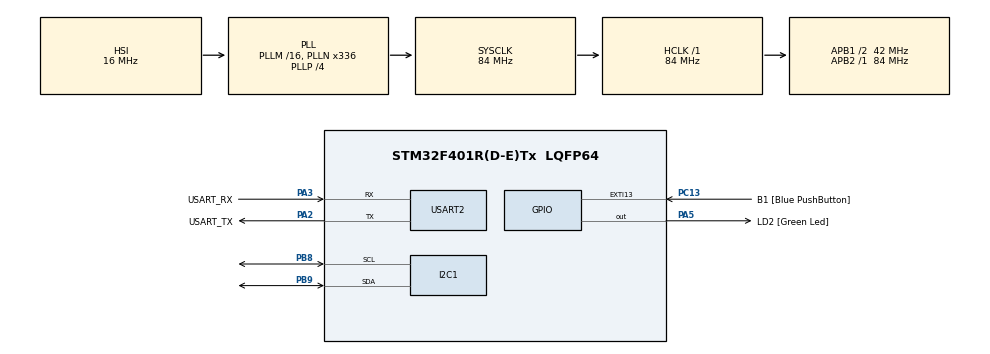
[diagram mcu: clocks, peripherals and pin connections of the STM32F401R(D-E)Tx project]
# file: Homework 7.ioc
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Mcu.Family=STM32F4
Mcu.Name=STM32F401R(D-E)Tx
Mcu.Package=LQFP64
NVIC.PriorityGroup=NVIC_PRIORITYGROUP_4
NVIC.TIM2_IRQn=true\:0\:0\:false\:false\:true\:true\:true\:true
PA13.GPIO_Label=TMS
PA13.Mode=Trace_Asynchronous_SW
PA13.Signal=SYS_JTMS-SWDIO
PA14.GPIO_Label=TCK
PA14.Mode=Trace_Asynchronous_SW
PA14.Signal=SYS_JTCK-SWCLK
PA2.GPIO_Label=USART_TX
PA2.GPIO_Mode=GPIO_MODE_AF_PP
PA2.GPIO_PuPd=GPIO_NOPULL
PA2.GPIO_Speed=GPIO_SPEED_FREQ_LOW
PA2.Mode=Asynchronous
PA2.Signal=USART2_TX
PA3.GPIO_Label=USART_RX
PA3.GPIO_Mode=GPIO_MODE_AF_PP
PA3.GPIO_PuPd=GPIO_NOPULL
PA3.GPIO_Speed=GPIO_SPEED_FREQ_LOW
PA3.Mode=Asynchronous
PA3.Signal=USART2_RX
PA5.GPIO_Label=LD2 [Green Led]
PA5.GPIO_Mode=GPIO_MODE_OUTPUT_PP
PA5.GPIO_PuPd=GPIO_NOPULL
PA5.GPIO_Speed=GPIO_SPEED_FREQ_LOW
PA5.Signal=GPIO_Output
PB3.GPIO_Label=SWO
PB3.Mode=Trace_Asynchronous_SW
PB3.Signal=SYS_JTDO-SWO
PB8.Mode=I2C
PB8.Signal=I2C1_SCL
PB9.Mode=I2C
PB9.Signal=I2C1_SDA
PC13-ANTI_TAMP.GPIO_Label=B1 [Blue PushButton]
PC13-ANTI_TAMP.GPIO_ModeDefaultEXTI=GPIO_MODE_IT_FALLING
PC13-ANTI_TAMP.GPIO_PuPd=GPIO_NOPULL
PC13-ANTI_TAMP.Signal=GPXTI13
PC14-OSC32_IN.Mode=LSE-External-Oscillator
PC14-OSC32_IN.Signal=RCC_OSC32_IN
PC15-OSC32_OUT.Mode=LSE-External-Oscillator
PC15-OSC32_OUT.Signal=RCC_OSC32_OUT
PH0\ -\ OSC_IN.Mode=HSE-External-Clock-Source
PH0\ -\ OSC_IN.Signal=RCC_OSC_IN
PH1\ -\ OSC_OUT.Mode=HSE-External-Clock-Source
PH1\ -\ OSC_OUT.Signal=RCC_OSC_OUT
ProjectManager.HeapSize=0x200
ProjectManager.StackSize=0x400
ProjectManager.TargetToolchain=STM32CubeIDE
RCC.48MHZClocksFreq_Value=48000000
RCC.AHBFreq_Value=84000000
RCC.APB1CLKDivider=RCC_HCLK_DIV2
RCC.APB1Freq_Value=42000000
RCC.APB1TimFreq_Value=84000000
RCC.APB2Freq_Value=84000000
RCC.APB2TimFreq_Value=84000000
RCC.CortexFreq_Value=84000000
RCC.HCLKFreq_Value=84000000
RCC.HSE_VALUE=8000000
RCC.HSI_VALUE=16000000
RCC.PLLN=336
RCC.PLLP=RCC_PLLP_DIV4
RCC.PLLQ=7
RCC.SYSCLKFreq_VALUE=84000000
RCC.SYSCLKSource=RCC_SYSCLKSOURCE_PLLCLK
RCC.VCOOutputFreq_Value=336000000
TIM2.Period=9999
TIM2.Prescaler=8399
USART2.VirtualMode=VM_ASYNC
VP_TIM2_VS_ClockSourceINT.Mode=Internal
board=NUCLEO-F401RE

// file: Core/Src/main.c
/* USER CODE BEGIN Header */
/**
  ******************************************************************************
  * @file           : main.c
  * @brief          : Main program body
  ******************************************************************************
  * @attention
  *
  * Copyright (c) 2025 STMicroelectronics.
  * All rights reserved.
  *
  * This software is licensed under terms that can be found in the LICENSE file
  * in the root directory of this software component.
  * If no LICENSE file comes with this software, it is provided AS-IS.
  *
  ******************************************************************************
  */
/* USER CODE END Header */
#include "main.h"

I2C_HandleTypeDef hi2c1;

TIM_HandleTypeDef htim2;

UART_HandleTypeDef huart2;

/* USER CODE BEGIN PV */
uint8_t LM75_ADDRESS = 0b10010000;
uint8_t LM75_TEMP_ADDRESS = 0x00;
int USART_send_flag = 0;
/* USER CODE END PV */

void SystemClock_Config(void);
static void MX_GPIO_Init(void);
static void MX_USART2_UART_Init(void);
static void MX_I2C1_Init(void);
static void MX_TIM2_Init(void);

/* USER CODE BEGIN 0 */
void HAL_TIM_PeriodElapsedCallback(TIM_HandleTypeDef *htim)
{
	if (htim == &htim2){
		USART_send_flag = 1;
	}
}
/* USER CODE END 0 */

int main(void)
{

  /* MCU Configuration--------------------------------------------------------*/

  /* Reset of all peripherals, Initializes the Flash interface and the Systick. */
  HAL_Init();

  /* Configure the system clock */
  SystemClock_Config();

  /* Initialize all configured peripherals */
  MX_GPIO_Init();
  MX_USART2_UART_Init();
  MX_I2C1_Init();
  MX_TIM2_Init();
  /* USER CODE BEGIN 2 */
  HAL_TIM_Base_Start_IT(&htim2);
  /* USER CODE END 2 */

  /* Infinite loop */
  /* USER CODE BEGIN WHILE */
  while (1)
  {
	  uint8_t temperature[2];
	  int len = 0;
	  char str[32];
	  if(HAL_I2C_Master_Receive(&hi2c1, LM75_ADDRESS+1, temperature, 2, 100)== HAL_OK){
		  //int8_t msb = temperature[0];
		  //uint8_t lsb = temperature[1];
		 // float temperature = msb + ((lsb>>7)*0.5f);

		  int16_t temp = (temperature[0] << 8) | temperature[1];
		  temp >>= 5;
		  float risultato = temp * 0.125f;
	  		  len = snprintf(str, sizeof(str), "Temperature: %.3f °C\r\n", risultato);
	  	  }else{
	  		  len = snprintf(str, sizeof(str), "Error reading from LM75\r\n");
	  	  }
	  if(USART_send_flag){
		  USART_send_flag = 0;
		  HAL_UART_Transmit(&huart2, str, len, 100);
	  }

    /* USER CODE END WHILE */

  }
}

void SystemClock_Config(void)
{
  RCC_OscInitTypeDef RCC_OscInitStruct = {0};
  RCC_ClkInitTypeDef RCC_ClkInitStruct = {0};

  /** Configure the main internal regulator output voltage
  */
  __HAL_RCC_PWR_CLK_ENABLE();
  __HAL_PWR_VOLTAGESCALING_CONFIG(PWR_REGULATOR_VOLTAGE_SCALE2);

  /** Initializes the RCC Oscillators according to the specified parameters
  * in the RCC_OscInitTypeDef structure.
  */
  RCC_OscInitStruct.OscillatorType = RCC_OSCILLATORTYPE_HSI;
  RCC_OscInitStruct.HSIState = RCC_HSI_ON;
  RCC_OscInitStruct.HSICalibrationValue = RCC_HSICALIBRATION_DEFAULT;
  RCC_OscInitStruct.PLL.PLLState = RCC_PLL_ON;
  RCC_OscInitStruct.PLL.PLLSource = RCC_PLLSOURCE_HSI;
  RCC_OscInitStruct.PLL.PLLM = 16;
  RCC_OscInitStruct.PLL.PLLN = 336;
  RCC_OscInitStruct.PLL.PLLP = RCC_PLLP_DIV4;
  RCC_OscInitStruct.PLL.PLLQ = 7;
  if (HAL_RCC_OscConfig(&RCC_OscInitStruct) != HAL_OK)
  {
    Error_Handler();
  }

  /** Initializes the CPU, AHB and APB buses clocks
  */
  RCC_ClkInitStruct.ClockType = RCC_CLOCKTYPE_HCLK|RCC_CLOCKTYPE_SYSCLK
                              |RCC_CLOCKTYPE_PCLK1|RCC_CLOCKTYPE_PCLK2;
  RCC_ClkInitStruct.SYSCLKSource = RCC_SYSCLKSOURCE_PLLCLK;
  RCC_ClkInitStruct.AHBCLKDivider = RCC_SYSCLK_DIV1;
  RCC_ClkInitStruct.APB1CLKDivider = RCC_HCLK_DIV2;
  RCC_ClkInitStruct.APB2CLKDivider = RCC_HCLK_DIV1;

  if (HAL_RCC_ClockConfig(&RCC_ClkInitStruct, FLASH_LATENCY_2) != HAL_OK)
  {
    Error_Handler();
  }
}

static void MX_I2C1_Init(void)
{

  hi2c1.Instance = I2C1;
  hi2c1.Init.ClockSpeed = 100000;
  hi2c1.Init.DutyCycle = I2C_DUTYCYCLE_2;
  hi2c1.Init.OwnAddress1 = 0;
  hi2c1.Init.AddressingMode = I2C_ADDRESSINGMODE_7BIT;
  hi2c1.Init.DualAddressMode = I2C_DUALADDRESS_DISABLE;
  hi2c1.Init.OwnAddress2 = 0;
  hi2c1.Init.GeneralCallMode = I2C_GENERALCALL_DISABLE;
  hi2c1.Init.NoStretchMode = I2C_NOSTRETCH_DISABLE;
  if (HAL_I2C_Init(&hi2c1) != HAL_OK)
  {
    Error_Handler();
  }

}

static void MX_TIM2_Init(void)
{

  TIM_ClockConfigTypeDef sClockSourceConfig = {0};
  TIM_MasterConfigTypeDef sMasterConfig = {0};

  htim2.Instance = TIM2;
  htim2.Init.Prescaler = 8399;
  htim2.Init.CounterMode = TIM_COUNTERMODE_UP;
  htim2.Init.Period = 9999;
  htim2.Init.ClockDivision = TIM_CLOCKDIVISION_DIV1;
  htim2.Init.AutoReloadPreload = TIM_AUTORELOAD_PRELOAD_DISABLE;
  if (HAL_TIM_Base_Init(&htim2) != HAL_OK)
  {
    Error_Handler();
  }
  sClockSourceConfig.ClockSource = TIM_CLOCKSOURCE_INTERNAL;
  if (HAL_TIM_ConfigClockSource(&htim2, &sClockSourceConfig) != HAL_OK)
  {
    Error_Handler();
  }
  sMasterConfig.MasterOutputTrigger = TIM_TRGO_RESET;
  sMasterConfig.MasterSlaveMode = TIM_MASTERSLAVEMODE_DISABLE;
  if (HAL_TIMEx_MasterConfigSynchronization(&htim2, &sMasterConfig) != HAL_OK)
  {
    Error_Handler();
  }

}

static void MX_USART2_UART_Init(void)
{

  huart2.Instance = USART2;
  huart2.Init.BaudRate = 115200;
  huart2.Init.WordLength = UART_WORDLENGTH_8B;
  huart2.Init.StopBits = UART_STOPBITS_1;
  huart2.Init.Parity = UART_PARITY_NONE;
  huart2.Init.Mode = UART_MODE_TX_RX;
  huart2.Init.HwFlowCtl = UART_HWCONTROL_NONE;
  huart2.Init.OverSampling = UART_OVERSAMPLING_16;
  if (HAL_UART_Init(&huart2) != HAL_OK)
  {
    Error_Handler();
  }

}

static void MX_GPIO_Init(void)
{
  GPIO_InitTypeDef GPIO_InitStruct = {0};

  /* GPIO Ports Clock Enable */
  __HAL_RCC_GPIOC_CLK_ENABLE();
  __HAL_RCC_GPIOH_CLK_ENABLE();
  __HAL_RCC_GPIOA_CLK_ENABLE();
  __HAL_RCC_GPIOB_CLK_ENABLE();

  /*Configure GPIO pin Output Level */
  HAL_GPIO_WritePin(LD2_GPIO_Port, LD2_Pin, GPIO_PIN_RESET);

  /*Configure GPIO pin : B1_Pin */
  GPIO_InitStruct.Pin = B1_Pin;
  GPIO_InitStruct.Mode = GPIO_MODE_IT_FALLING;
  GPIO_InitStruct.Pull = GPIO_NOPULL;
  HAL_GPIO_Init(B1_GPIO_Port, &GPIO_InitStruct);

  /*Configure GPIO pin : LD2_Pin */
  GPIO_InitStruct.Pin = LD2_Pin;
  GPIO_InitStruct.Mode = GPIO_MODE_OUTPUT_PP;
  GPIO_InitStruct.Pull = GPIO_NOPULL;
  GPIO_InitStruct.Speed = GPIO_SPEED_FREQ_LOW;
  HAL_GPIO_Init(LD2_GPIO_Port, &GPIO_InitStruct);

}

void Error_Handler(void)
{
  __disable_irq();
  while (1)
  {
  }
}
